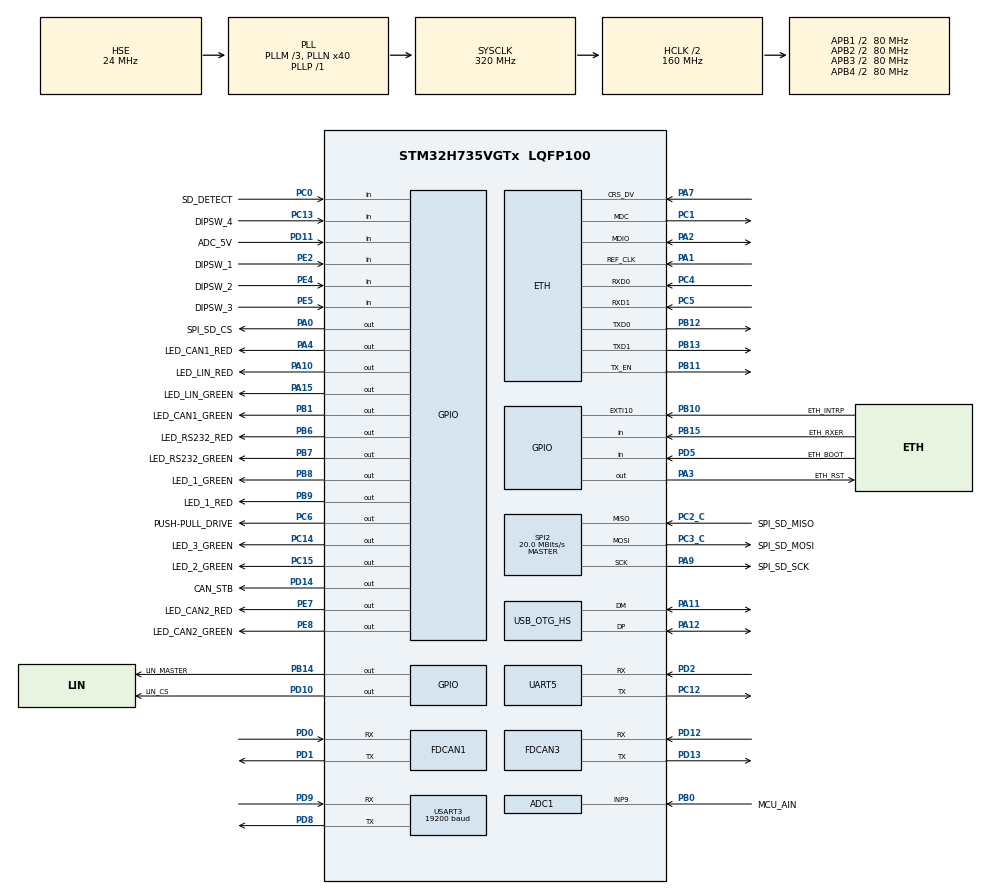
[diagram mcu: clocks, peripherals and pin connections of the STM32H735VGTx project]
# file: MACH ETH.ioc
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ADC1.Channel-2\#ChannelRegularConversion=ADC_CHANNEL_9
ADC1.ConversionDataManagement=ADC_CONVERSIONDATA_DR
ADC1.ExternalTrigConv=ADC_SOFTWARE_START
ADC1.NbrOfConversionFlag=1
ADC1.OffsetNumber-2\#ChannelRegularConversion=ADC_OFFSET_NONE
ADC1.OffsetSignedSaturation-2\#ChannelRegularConversion=DISABLE
ADC1.Rank-2\#ChannelRegularConversion=1
ADC1.SamplingTime-2\#ChannelRegularConversion=ADC_SAMPLETIME_16CYCLES_5
ADC1.master=1
CORTEX_M7.AccessPermission-Cortex_Memory_Protection_Unit_Region0_Settings=MPU_REGION_FULL_ACCESS
CORTEX_M7.AccessPermission-Cortex_Memory_Protection_Unit_Region1_Settings=MPU_REGION_FULL_ACCESS
CORTEX_M7.BaseAddress-Cortex_Memory_Protection_Unit_Region0_Settings=0x30000000
CORTEX_M7.BaseAddress-Cortex_Memory_Protection_Unit_Region1_Settings=0x30000000
CORTEX_M7.CPU_DCache=Enabled
CORTEX_M7.DisableExec-Cortex_Memory_Protection_Unit_Region0_Settings=MPU_INSTRUCTION_ACCESS_DISABLE
CORTEX_M7.DisableExec-Cortex_Memory_Protection_Unit_Region1_Settings=MPU_INSTRUCTION_ACCESS_DISABLE
CORTEX_M7.Enable-Cortex_Memory_Protection_Unit_Region0_Settings=MPU_REGION_ENABLE
CORTEX_M7.Enable-Cortex_Memory_Protection_Unit_Region1_Settings=MPU_REGION_ENABLE
CORTEX_M7.Enable-Cortex_Memory_Protection_Unit_Region2_Settings=__NULL
CORTEX_M7.IsBufferable-Cortex_Memory_Protection_Unit_Region0_Settings=MPU_ACCESS_NOT_BUFFERABLE
CORTEX_M7.IsBufferable-Cortex_Memory_Protection_Unit_Region1_Settings=MPU_ACCESS_BUFFERABLE
CORTEX_M7.IsShareable-Cortex_Memory_Protection_Unit_Region0_Settings=MPU_ACCESS_NOT_SHAREABLE
CORTEX_M7.IsShareable-Cortex_Memory_Protection_Unit_Region1_Settings=MPU_ACCESS_SHAREABLE
CORTEX_M7.MPU_Control=MPU_PRIVILEGED_DEFAULT
CORTEX_M7.Size-Cortex_Memory_Protection_Unit_Region0_Settings=MPU_REGION_SIZE_32KB
CORTEX_M7.Size-Cortex_Memory_Protection_Unit_Region1_Settings=MPU_REGION_SIZE_256B
CORTEX_M7.SubRegionDisable-Cortex_Memory_Protection_Unit_Region0_Settings=0x0
CORTEX_M7.TypeExtField-Cortex_Memory_Protection_Unit_Region0_Settings=MPU_TEX_LEVEL1
CORTEX_M7.TypeExtField-Cortex_Memory_Protection_Unit_Region1_Settings=MPU_TEX_LEVEL0
ETH.MediaInterface=HAL_ETH_RMII_MODE
ETH.RxBuffAddress=0x30000400
ETH.TxDescAddress=0x30000060
FDCAN1.CalculateBaudRateNominal=1111111
FDCAN1.CalculateTimeBitNominal=900
FDCAN1.CalculateTimeQuantumNominal=50.0
FDCAN1.DataPrescaler=2
FDCAN1.DataSyncJumpWidth=3
FDCAN1.DataTimeSeg1=14
FDCAN1.DataTimeSeg2=3
FDCAN1.ExtFiltersNbr=1
FDCAN1.FrameFormat=FDCAN_FRAME_FD_BRS
FDCAN1.NominalPrescaler=4
FDCAN1.NominalSyncJumpWidth=3
FDCAN1.NominalTimeSeg1=14
FDCAN1.NominalTimeSeg2=3
FDCAN1.RxBuffersNbr=8
FDCAN1.RxFifo0ElmtSize=FDCAN_DATA_BYTES_64
FDCAN1.RxFifo0ElmtsNbr=8
FDCAN1.StdFiltersNbr=1
FDCAN1.TxBuffersNbr=8
FDCAN1.TxElmtSize=FDCAN_DATA_BYTES_64
FDCAN1.TxEventsNbr=8
FDCAN1.TxFifoQueueElmtsNbr=8
FDCAN3.CalculateBaudRateNominal=1111111
FDCAN3.CalculateTimeBitNominal=900
FDCAN3.CalculateTimeQuantumNominal=50.0
FDCAN3.DataPrescaler=2
FDCAN3.DataSyncJumpWidth=3
FDCAN3.DataTimeSeg1=14
FDCAN3.DataTimeSeg2=3
FDCAN3.ExtFiltersNbr=1
FDCAN3.FrameFormat=FDCAN_FRAME_FD_BRS
FDCAN3.NominalPrescaler=4
FDCAN3.NominalSyncJumpWidth=3
FDCAN3.NominalTimeSeg1=14
FDCAN3.NominalTimeSeg2=3
FDCAN3.RxBuffersNbr=8
FDCAN3.RxFifo0ElmtSize=FDCAN_DATA_BYTES_64
FDCAN3.RxFifo0ElmtsNbr=8
FDCAN3.StdFiltersNbr=1
FDCAN3.TxBuffersNbr=8
FDCAN3.TxElmtSize=FDCAN_DATA_BYTES_64
FDCAN3.TxEventsNbr=8
FDCAN3.TxFifoQueueElmtsNbr=8
FREERTOS.HEAP_NUMBER=2
FREERTOS.Queues01=UsbRxQueue,4,GenericMessageType,0,Dynamic,NULL,NULL;TcpTxQueue,4,GenericMessageType,0,Dynamic,NULL,NULL
FREERTOS.Tasks01=defaultTask,24,2048,StartDefaultTask,Default,NULL,Dynamic,NULL,NULL;usbProtocolTask,24,2048,UsbProtocolTask,As external,NULL,Dynamic,NULL,NULL
FREERTOS.configCHECK_FOR_STACK_OVERFLOW=0
FREERTOS.configMINIMAL_STACK_SIZE=128
FREERTOS.configQUEUE_REGISTRY_SIZE=8
FREERTOS.configTOTAL_HEAP_SIZE=65536
FREERTOS.configUSE_NEWLIB_REENTRANT=1
IWDG1.Prescaler=IWDG_PRESCALER_32
IWDG1.Reload=3998
LWIP.BSP.number=1
LWIP.DEFAULT_THREAD_STACKSIZE=1024
LWIP.IP_ADDRESS=192.168.001.100
LWIP.IP_REASS_MAXAGE=15
LWIP.IP_REASS_MAX_PBUFS=31
LWIP.LWIP_DBG_TYPES_ON=LWIP_DBG_ON
LWIP.LWIP_DHCP=0
LWIP.LWIP_HTTPD=0
LWIP.LWIP_IGMP=1
LWIP.LWIP_MULTICAST_TX_OPTIONS=1
LWIP.LWIP_RAM_HEAP_POINTER=0x30004E00
LWIP.LWIP_SOCKET=0
LWIP.LWIP_SO_RCVTIMEO=1
LWIP.LWIP_SO_SNDTIMEO=1
LWIP.LWIP_TCPIP_TIMEOUT=1
LWIP.LWIP_TCP_KEEPALIVE=1
LWIP.MEMP_DEBUG=LWIP_DBG_OFF
LWIP.MEMP_NUM_NETBUF=8
LWIP.MEMP_NUM_NETCONN=16
LWIP.MEMP_NUM_PBUF=512
LWIP.MEMP_NUM_RAW_PCB=4
LWIP.MEMP_NUM_SELECT_CB=4
LWIP.MEMP_NUM_SYS_TIMEOUT=4
LWIP.MEMP_NUM_TCPIP_MSG_API=8
LWIP.MEMP_NUM_TCP_PCB=6
LWIP.MEMP_NUM_TCP_PCB_LISTEN=16
LWIP.MEMP_NUM_TCP_SEG=17
LWIP.MEM_DEBUG=LWIP_DBG_OFF
LWIP.MEM_SIZE=12288
LWIP.NETMASK_ADDRESS=255.255.255.000
LWIP.PBUF_POOL_BUFSIZE=1522
LWIP.PBUF_POOL_SIZE=32
LWIP.SLIPIF_THREAD_STACKSIZE=1024
LWIP.SYS_DEBUG=LWIP_DBG_OFF
LWIP.TCPIP_THREAD_STACKSIZE=1536
LWIP.TCP_DEBUG=LWIP_DBG_OFF
LWIP.TCP_MSS=1460
LWIP.TCP_OUTPUT_DEBUG=LWIP_DBG_OFF
LWIP.TCP_SND_BUF=5840
LWIP.Version=v2.1.2_Cube
LWIP0.BSP.STBoard=false
LWIP0.BSP.api=BSP_COMPONENT_DRIVER
LWIP0.BSP.component=LAN8742
LWIP0.BSP.instance=LAN8742
LWIP0.BSP.name=Driver_PHY
LWIP0.BSP.solution=LAN8742
Mcu.Family=STM32H7
Mcu.Name=STM32H735VGTx
Mcu.Package=LQFP100
NVIC.ADC_IRQn=true\:5\:0\:false\:false\:true\:true\:true\:true\:true
NVIC.ETH_IRQn=true\:5\:0\:false\:false\:true\:true\:true\:true\:true
NVIC.ETH_WKUP_IRQn=true\:5\:0\:false\:false\:true\:true\:true\:true\:true
NVIC.FDCAN1_IT0_IRQn=true\:5\:0\:false\:false\:true\:true\:true\:true\:true
NVIC.FDCAN1_IT1_IRQn=true\:5\:0\:false\:false\:true\:true\:true\:true\:true
NVIC.FDCAN3_IT0_IRQn=true\:5\:0\:false\:false\:true\:true\:true\:true\:true
NVIC.FDCAN3_IT1_IRQn=true\:5\:0\:false\:false\:true\:true\:true\:true\:true
NVIC.OTG_HS_IRQn=true\:6\:0\:true\:false\:true\:true\:true\:true\:true
NVIC.PriorityGroup=NVIC_PRIORITYGROUP_4
NVIC.TIM6_DAC_IRQn=true\:15\:0\:false\:false\:true\:false\:false\:true\:true
NVIC.TIM7_IRQn=true\:5\:0\:false\:false\:true\:true\:true\:true\:true
NVIC.TIM8_UP_TIM13_IRQn=true\:5\:0\:false\:false\:true\:true\:true\:true\:true
NVIC.TimeBase=TIM6_DAC_IRQn
NVIC.TimeBaseIP=TIM6
NVIC.UART5_IRQn=true\:5\:0\:false\:false\:true\:false\:true\:true\:true
NVIC.USART3_IRQn=true\:5\:0\:false\:false\:true\:true\:true\:true\:true
PA0.GPIO_Label=SPI_SD_CS
PA0.GPIO_PuPd=GPIO_PULLUP
PA0.GPIO_Speed=GPIO_SPEED_FREQ_VERY_HIGH
PA0.PinState=GPIO_PIN_SET
PA0.Signal=GPIO_Output
PA1.GPIO_Mode=GPIO_MODE_AF_PP
PA1.GPIO_PuPd=GPIO_NOPULL
PA1.GPIO_Speed=GPIO_SPEED_FREQ_VERY_HIGH
PA1.Mode=RMII
PA1.Signal=ETH_REF_CLK
PA10.GPIO_Label=LED_LIN_RED
PA10.PinState=GPIO_PIN_SET
PA10.Signal=GPIO_Output
PA11.Mode=Device_Only_FS
PA11.Signal=USB_OTG_HS_DM
PA12.Mode=Device_Only_FS
PA12.Signal=USB_OTG_HS_DP
PA13(JTMS/SWDIO).Mode=Serial_Wire
PA13(JTMS/SWDIO).Signal=DEBUG_JTMS-SWDIO
PA14(JTCK/SWCLK).Mode=Serial_Wire
PA14(JTCK/SWCLK).Signal=DEBUG_JTCK-SWCLK
PA15(JTDI).GPIO_Label=LED_LIN_GREEN
PA15(JTDI).PinState=GPIO_PIN_SET
PA15(JTDI).Signal=GPIO_Output
PA2.GPIO_Mode=GPIO_MODE_AF_PP
PA2.GPIO_PuPd=GPIO_NOPULL
PA2.GPIO_Speed=GPIO_SPEED_FREQ_VERY_HIGH
PA2.Mode=RMII
PA2.Signal=ETH_MDIO
PA3.GPIO_Label=ETH_RST
PA3.PinState=GPIO_PIN_SET
PA3.Signal=GPIO_Output
PA4.GPIO_Label=LED_CAN1_RED
PA4.PinState=GPIO_PIN_SET
PA4.Signal=GPIO_Output
PA7.GPIO_Mode=GPIO_MODE_AF_PP
PA7.GPIO_PuPd=GPIO_NOPULL
PA7.GPIO_Speed=GPIO_SPEED_FREQ_VERY_HIGH
PA7.Mode=RMII
PA7.Signal=ETH_CRS_DV
PA9.GPIO_Label=SPI_SD_SCK
PA9.GPIO_Speed=GPIO_SPEED_FREQ_HIGH
PA9.Mode=Full_Duplex_Master
PA9.Signal=SPI2_SCK
PB0.GPIO_Label=MCU_AIN
PB0.Signal=ADCx_INP9
PB1.GPIO_Label=LED_CAN1_GREEN
PB1.PinState=GPIO_PIN_SET
PB1.Signal=GPIO_Output
PB10.GPIO_Label=ETH_INTRP
PB10.Signal=GPXTI10
PB11.GPIO_Mode=GPIO_MODE_AF_PP
PB11.GPIO_PuPd=GPIO_NOPULL
PB11.GPIO_Speed=GPIO_SPEED_FREQ_VERY_HIGH
PB11.Mode=RMII
PB11.Signal=ETH_TX_EN
PB12.GPIO_Mode=GPIO_MODE_AF_PP
PB12.GPIO_PuPd=GPIO_NOPULL
PB12.GPIO_Speed=GPIO_SPEED_FREQ_VERY_HIGH
PB12.Mode=RMII
PB12.Signal=ETH_TXD0
PB13.GPIO_Mode=GPIO_MODE_AF_PP
PB13.GPIO_PuPd=GPIO_NOPULL
PB13.GPIO_Speed=GPIO_SPEED_FREQ_VERY_HIGH
PB13.Mode=RMII
PB13.Signal=ETH_TXD1
PB14.GPIO_Label=LIN_MASTER
PB14.Signal=GPIO_Output
PB15.GPIO_Label=ETH_RXER
PB15.Signal=GPIO_Input
PB3(JTDO/TRACESWO).Signal=DEBUG_JTDO-SWO
PB6.GPIO_Label=LED_RS232_RED
PB6.PinState=GPIO_PIN_SET
PB6.Signal=GPIO_Output
PB7.GPIO_Label=LED_RS232_GREEN
PB7.PinState=GPIO_PIN_SET
PB7.Signal=GPIO_Output
PB8.GPIO_Label=LED_1_GREEN
PB8.PinState=GPIO_PIN_SET
PB8.Signal=GPIO_Output
PB9.GPIO_Label=LED_1_RED
PB9.PinState=GPIO_PIN_SET
PB9.Signal=GPIO_Output
PC0.GPIO_Label=SD_DETECT
PC0.Signal=GPIO_Input
PC1.GPIO_Mode=GPIO_MODE_AF_PP
PC1.GPIO_PuPd=GPIO_NOPULL
PC1.GPIO_Speed=GPIO_SPEED_FREQ_VERY_HIGH
PC1.Mode=RMII
PC1.Signal=ETH_MDC
PC12.GPIO_Speed=GPIO_SPEED_FREQ_MEDIUM
PC12.Mode=Asynchronous
PC12.Signal=UART5_TX
PC13.GPIO_Label=DIPSW_4
PC13.Signal=GPIO_Input
PC14-OSC32_IN.GPIO_Label=LED_3_GREEN
PC14-OSC32_IN.PinState=GPIO_PIN_SET
PC14-OSC32_IN.Signal=GPIO_Output
PC15-OSC32_OUT.GPIO_Label=LED_2_GREEN
PC15-OSC32_OUT.PinState=GPIO_PIN_SET
PC15-OSC32_OUT.Signal=GPIO_Output
PC2_C.GPIO_Label=SPI_SD_MISO
PC2_C.GPIO_Speed=GPIO_SPEED_FREQ_HIGH
PC2_C.Mode=Full_Duplex_Master
PC2_C.Signal=SPI2_MISO
PC3_C.GPIO_Label=SPI_SD_MOSI
PC3_C.GPIO_Speed=GPIO_SPEED_FREQ_HIGH
PC3_C.Mode=Full_Duplex_Master
PC3_C.Signal=SPI2_MOSI
PC4.GPIO_Mode=GPIO_MODE_AF_PP
PC4.GPIO_PuPd=GPIO_NOPULL
PC4.GPIO_Speed=GPIO_SPEED_FREQ_VERY_HIGH
PC4.Mode=RMII
PC4.Signal=ETH_RXD0
PC5.GPIO_Mode=GPIO_MODE_AF_PP
PC5.GPIO_PuPd=GPIO_NOPULL
PC5.GPIO_Speed=GPIO_SPEED_FREQ_VERY_HIGH
PC5.Mode=RMII
PC5.Signal=ETH_RXD1
PC6.GPIO_Label=PUSH-PULL_DRIVE
PC6.Signal=GPIO_Output
PD0.GPIO_Speed=GPIO_SPEED_FREQ_HIGH
PD0.Mode=FDCAN_Activate
PD0.Signal=FDCAN1_RX
PD1.GPIO_Speed=GPIO_SPEED_FREQ_HIGH
PD1.Mode=FDCAN_Activate
PD1.Signal=FDCAN1_TX
PD10.GPIO_Label=LIN_CS
PD10.Signal=GPIO_Output
PD11.GPIO_Label=ADC_5V
PD11.Signal=GPIO_Input
PD12.GPIO_Speed=GPIO_SPEED_FREQ_HIGH
PD12.Mode=FDCAN_Activate
PD12.Signal=FDCAN3_RX
PD13.GPIO_Speed=GPIO_SPEED_FREQ_HIGH
PD13.Mode=FDCAN_Activate
PD13.Signal=FDCAN3_TX
PD14.GPIO_Label=CAN_STB
PD14.PinState=GPIO_PIN_SET
PD14.Signal=GPIO_Output
PD2.GPIO_Speed=GPIO_SPEED_FREQ_MEDIUM
PD2.Mode=Asynchronous
PD2.Signal=UART5_RX
PD5.GPIO_Label=ETH_BOOT
PD5.GPIO_PuPd=GPIO_PULLUP
PD5.Signal=GPIO_Input
PD8.GPIO_Speed=GPIO_SPEED_FREQ_MEDIUM
PD8.Mode=LIN
PD8.Signal=USART3_TX
PD9.GPIO_Speed=GPIO_SPEED_FREQ_MEDIUM
PD9.Mode=LIN
PD9.Signal=USART3_RX
PE2.GPIO_Label=DIPSW_1
PE2.Signal=GPIO_Input
PE4.GPIO_Label=DIPSW_2
PE4.Signal=GPIO_Input
PE5.GPIO_Label=DIPSW_3
PE5.Signal=GPIO_Input
PE7.GPIO_Label=LED_CAN2_RED
PE7.PinState=GPIO_PIN_SET
PE7.Signal=GPIO_Output
PE8.GPIO_Label=LED_CAN2_GREEN
PE8.PinState=GPIO_PIN_SET
PE8.Signal=GPIO_Output
PH0-OSC_IN.Mode=HSE-External-Oscillator
PH0-OSC_IN.Signal=RCC_OSC_IN
PH1-OSC_OUT.Mode=HSE-External-Oscillator
PH1-OSC_OUT.Signal=RCC_OSC_OUT
ProjectManager.HeapSize=0x200
ProjectManager.StackSize=0x400
ProjectManager.TargetToolchain=STM32CubeIDE
RCC.ADCFreq_Value=30000000
RCC.APB1Freq_Value=80000000
RCC.APB2Freq_Value=80000000
RCC.APB3Freq_Value=80000000
RCC.APB4Freq_Value=80000000
RCC.CortexFreq_Value=320000000
RCC.D1PPRE=RCC_APB3_DIV2
RCC.D2PPRE1=RCC_APB1_DIV2
RCC.D2PPRE2=RCC_APB2_DIV2
RCC.D3PPRE=RCC_APB4_DIV2
RCC.DIVM1=3
RCC.DIVM2=4
RCC.DIVM3=4
RCC.DIVN1=40
RCC.DIVN2=40
RCC.DIVN3=48
RCC.DIVP1=1
RCC.DIVP2=8
RCC.DIVP3=1
RCC.DIVQ1=8
RCC.DIVQ2=3
RCC.DIVQ3=6
RCC.EnbaleCSS=false
RCC.FDCANCLockSelection=RCC_FDCANCLKSOURCE_PLL2
RCC.FLatency-AdvancedSettings=FLASH_LATENCY_2
RCC.HCLKFreq_Value=160000000
RCC.HPRE=RCC_HCLK_DIV2
RCC.HSE_VALUE=24000000
RCC.PLL1_VCI_Range-AdvancedSettings=RCC_PLL1VCIRANGE_1
RCC.PLL1_VCO_SEL-AdvancedSettings=RCC_PLL1VCOMEDIUM
RCC.PLL2FRACN=0
RCC.PLL2_VCI_Range-AdvancedSettings=RCC_PLL2VCIRANGE_0
RCC.PLL2_VCO_SEL-AdvancedSettings=RCC_PLL2VCOMEDIUM
RCC.PLL3FRACN=0
RCC.PLL3_VCI_Range-AdvancedSettings=RCC_PLL3VCIRANGE_3
RCC.PLL3_VCO_SEL-AdvancedSettings=RCC_PLL3VCOMEDIUM
RCC.PLLFRACN=0
RCC.PLLSourceVirtual=RCC_PLLSOURCE_HSE
RCC.PWR_Regulator_Voltage_Scale=PWR_REGULATOR_VOLTAGE_SCALE1
RCC.RCC_MCO1Source=RCC_MCO1SOURCE_HSE
RCC.RCC_MCODiv1=RCC_MCODIV_2
RCC.SYSCLKFreq_VALUE=320000000
RCC.SYSCLKSource=RCC_SYSCLKSOURCE_PLLCLK
RCC.SupplySource=PWR_LDO_SUPPLY
RCC.USART234578CLockSelection=RCC_USART234578CLKSOURCE_PLL2
RCC.USBCLockSelection=RCC_USBCLKSOURCE_PLL3
RCC.USBFreq_Value=48000000
SH.ADCx_INP9.0=ADC1_INP9,IN9-Single-Ended
SPI2.CalculateBaudRate=20.0 MBits/s
SPI2.Direction=SPI_DIRECTION_2LINES
SPI2.Mode=SPI_MODE_MASTER
SPI2.VirtualType=VM_MASTER
TIM13.AutoReloadPreload=TIM_AUTORELOAD_PRELOAD_DISABLE
TIM13.Period=999
TIM13.Prescaler=159
USART3.BaudRate=19200
USART3.DMADisableonRxErrorParam=ADVFEATURE_DMA_DISABLEONRXERROR
USART3.OverrunDisableParam=ADVFEATURE_OVERRUN_DISABLE
USART3.VirtualMode-LIN=VM_LIN
USB_DEVICE.CLASS_NAME_HS=CDC
USB_DEVICE.VirtualMode=Cdc
USB_DEVICE.VirtualModeHS=Cdc_HS
USB_OTG_HS.VirtualMode-Device_Only_FS=Device_Only_FS
VP_FREERTOS_VS_CMSIS_V2.Mode=CMSIS_V2
VP_IWDG1_VS_IWDG.Mode=IWDG_Activate
VP_LWIP_VS_Enabled.Mode=Enabled
VP_SYS_VS_tim6.Mode=TIM6
VP_TIM13_VS_ClockSourceINT.Mode=Enable_Timer
VP_TIM7_VS_ClockSourceINT.Mode=Enable_Timer
VP_USB_DEVICE_VS_USB_DEVICE_CDC_HS.Mode=CDC_HS
VREF+.Mode=InternalMode
VREF+.Signal=VREFBUF_OUT
board=custom

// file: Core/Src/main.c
/* USER CODE BEGIN Header */
/**
  ******************************************************************************
  * @file           : main.c
  * @brief          : MACH ETH Example
  ******************************************************************************
  * @attention
  *
  * Product: MACH ETH
  *
  * Company: MACH SYSTEMS s.r.o.
  * Company web: www.machsystems.cz
  *
  * Product description:
  * - 10/100 Ethernet port
  * - 2 CAN-HS channels with CAN FD support
  * - LIN channel
  * - USB 2.0
  * - RS-232
  * - Analogue input and digital output
  * - 4 DIP switches
  * - 10 status LEDs
  * - Open communication protocol for integration over Ethernet and USB
  * - User-programmable
  * - Externally or USB-powered
  * - Table-top use or DIN-rail mount
  *
  * MCU: STM32H735VG
  * IDE: STM32CubeIDE v1.14.0
  * HAL: STM32Cube FW_H7 V1.11.0
  *
  *
  * Connector pinout of the device:
  * ===============================
  * Connector X5 (D-SUB Male):
  *   - 1 AI1 (0-5V)
  *   - 2 CAN1 L
  *   - 3 GND
  *   - 4 CAN2 L
  *   - 5 GND
  *   - 6 LIN
  *   - 7 CAN1 H
  *   - 8 CAN2 H
  *   - 9 Vin/Vbat
  *
  * Connector X6 (D-SUB Male):
  *   - 1 DO1  (5 V push-pull)
  *   - 2 NC
  *   - 3 GND
  *   - 4 NC
  *   - 5 GND
  *   - 6 RS-232 TxD (out)
  *   - 7 NC
  *   - 8 NC
  *   - 9 RS-232 RxD (in)
  *
  * Description of the example:
  * ===========================
  * CAN-FD:
  *  Default setting for CAN is 500k, 2M, SP = 80 %.
  *  Everything received on CAN is sent to USB and to TCP connection (if there
  *  is).
  *
  * LIN:
  *   In LIN scheduler, there is one frame:
  * ID 0x01 - Master Response
  *         - 4 data bytes
  *         - LSB of bytes 0, 1, 2, 3 contain respectively state of the
  *           dip switches
  *
  * Bootloader:
  *  CAN frame with extended frame ID 0x1fffffff and first four data bytes 0x00
  * 0x01 0x02 0x03 (on CAN1 or CAN2) will reset the device to HTTP bootloader.
  * If you then connect to the device via ethernet and connect from web browser
  * (Google Chrome recommended), you can upload new firmware to the device. If
  * the binary is built as without bootloader, device will reset to System
  * Bootloader. If you then connect USB cable, you can upload new firmware. See
  * below for build possibilities. Furthermore, see manual for more info.
  *
  * Virtual COM Port:
  *   If there is anything received, there is a frame transmitted on CAN1.
  *
  * EEPROM:
  *  There is running an EEPROM emulation in flash. Program tries to load conf-
  * iguration from there.
  *
  * RS-232:
  *  Received data are sent back. Uncomment TEST_UART for this example.
  * Settings are: 115200, 8 B, 1 stop bit, no parity.
  *
  * Analog Input:
  *  There is one analog input that can measure 0 to 5 V. You can get its value
  * using GetAdcMeasurement().
  *
  * Output:
  *  There is one 5 V push-pull. There are macros defined in main.h (in section
  * Push-pull control) for controlling it, but they are not used in this example.
  *
  *  Also, there are three LEDs, macros for using them are in main.h in section
  * User LED controls.
  *
  *  Note that currently there are two possible build options, Bootloader and
  * NoBootloader. Each has its own linker file. First is to be used with our
  * TCP bootloader, you can upload this app via a web browser (we recommend
  * Google Chrome). See manual for details. Second one should be used without
  * bootloader.
  *
  *
  *
  * Mapping of the peripherals to their names:
  * ==========================================
  * CAN1: FDCAN3 peripheral
  * CAN2: FDCAN1 peripheral
  *
  * LIN:   USART3
  * RS232: UART5
  *
  * TIM13: millisecond timer
  * TIM7: LIN timer
  *
  * <h2><center>&copy; Copyright (c) 2021 STMicroelectronics.
  * All rights reserved.</center></h2>
  *
  * This software component is licensed by ST under BSD 3-Clause license,
  * the "License"; You may not use this file except in compliance with the
  * License. You may obtain a copy of the License at:
  *                        opensource.org/licenses/BSD-3-Clause
  *
  *
  *
  ******************************************************************************
  */
/* USER CODE END Header */
#include "main.h"
#include "cmsis_os.h"
#include "lwip.h"
#include "usb_device.h"

/* USER CODE BEGIN Includes */
#include "tcpServer.h"
#include <string.h>         /* memcpy() */
#include "lin.h"
#include <usbd_cdc_if.h>
#include "eeprom_emul.h"
#include "config.h"
#include "commControl.h"    /*  ProtocolTimeoutCallback() */
#include "sharedParams.h"
#include "can.h"
#include "packetControl.h"
/* USER CODE END Includes */

/* USER CODE BEGIN PD */
#define CAN_MAX_DATALEN         64
#define LIN_TX_DATA_SIZE        4

#define TEST_UART

//#define TEST_CAN

#define SYSTEM_BOOT_ADDR        0x1FF09800
#define HTTP_BOOT_ADDR          0x08000000

#define SHARED_RAM_USB_JUMP     11  /* Address in the shared memory section that is used when
                                       jumping to System Bootloader */
/* USER CODE END PD */

ADC_HandleTypeDef hadc1;

FDCAN_HandleTypeDef hfdcan1;
FDCAN_HandleTypeDef hfdcan3;

IWDG_HandleTypeDef hiwdg1;

SPI_HandleTypeDef hspi2;

TIM_HandleTypeDef htim13;

UART_HandleTypeDef huart5;

/* Definitions for defaultTask */
osThreadId_t defaultTaskHandle;
const osThreadAttr_t defaultTask_attributes = {
  .name = "defaultTask",
  .stack_size = 2048 * 4,
  .priority = (osPriority_t) osPriorityNormal,
};
/* Definitions for usbProtocolTask */
osThreadId_t usbProtocolTaskHandle;
const osThreadAttr_t usbProtocolTask_attributes = {
  .name = "usbProtocolTask",
  .stack_size = 2048 * 4,
  .priority = (osPriority_t) osPriorityNormal,
};
/* Definitions for UsbRxQueue */
osMessageQueueId_t UsbRxQueueHandle;
const osMessageQueueAttr_t UsbRxQueue_attributes = {
  .name = "UsbRxQueue"
};
/* Definitions for TcpTxQueue */
osMessageQueueId_t TcpTxQueueHandle;
const osMessageQueueAttr_t TcpTxQueue_attributes = {
  .name = "TcpTxQueue"
};
/* USER CODE BEGIN PV */
FDCAN_RxHeaderTypeDef RxHeader;
uint8_t RxData[CAN_MAX_DATALEN];
FDCAN_TxHeaderTypeDef TxHeader;
uint8_t TxData[CAN_MAX_DATALEN];

uint8_t LinGlobalData[LIN_DATA_LENGTH];

/* String to send via uart */
uint8_t aTextInfoStart[] = "\r\nUART Debug Example: Received data will be sent back:\r\n";
uint8_t DbgReceive = 'a';

uint16_t gTimerCnt = 0;

/* FATFs process status */
int32_t ProcessStatus = 0;

/* Represents state of the dipswitches *at the start* */
uint8_t GlobalBtnState;

/* Request to go to bootloader */
uint8_t BootloaderRequest = 0;

uint8_t linTxData[LIN_TX_DATA_SIZE] = {0, 0, 0};
LIN_Frame* pLinRxFrame;
/* USER CODE END PV */

void SystemClock_Config(void);
void PeriphCommonClock_Config(void);
static void MPU_Config(void);
static void MX_GPIO_Init(void);
static void MX_FDCAN1_Init(void);
static void MX_FDCAN3_Init(void);
static void MX_UART5_Init(void);
static void MX_USART3_UART_Init(void);
static void MX_TIM7_Init(void);
static void MX_TIM13_Init(void);
static void MX_ADC1_Init(void);
static void MX_SPI2_Init(void);
static void MX_IWDG1_Init(void);
void StartDefaultTask(void *argument);
extern void UsbProtocolTask(void *argument);

/* USER CODE BEGIN PFP */
/*
 * Read the DIP switches.
 */
void testDipsw(void);

/*
 * Test the outputs.
 */
void testIo(void);

/*
 * Jump to the system bootloader.
 * Almost entirely from:
 * https://community.st.com/s/article/STM32H7-bootloader-jump-from-application
 * Other source:
 * https://www.programmersought.com/article/56553023460/
 * https://stm32f4-discovery.net/2017/04/tutorial-jump-system-memory-software-stm32/
 */
void jumpToBootloader(uint32_t address);

/*
 * Blink with all LEDs
 */
void ledTest(void);
/* USER CODE END PFP */

int main(void)
{
  /* USER CODE BEGIN 1 */
  if (GetSharedData(SHARED_RAM_USB_JUMP) == 1)
  {
    SetSharedData(SHARED_RAM_USB_JUMP, 0);
    jumpToBootloader(SYSTEM_BOOT_ADDR);
  }
  hiwdg1.Instance = IWDG1;
  WDG_REFRESH();    // Watchdog might have been enabled by the bootloader
  /* USER CODE END 1 */

  /* MPU Configuration--------------------------------------------------------*/
  MPU_Config();

  /* Enable D-Cache---------------------------------------------------------*/
  SCB_EnableDCache();

  /* MCU Configuration--------------------------------------------------------*/

  /* Reset of all peripherals, Initializes the Flash interface and the Systick. */
  HAL_Init();

  /* Configure the system clock */
  SystemClock_Config();

/* Configure the peripherals common clocks */
  PeriphCommonClock_Config();

  /* Initialize all configured peripherals */
  MX_GPIO_Init();
  MX_FDCAN1_Init();
  MX_FDCAN3_Init();
  MX_UART5_Init();
  MX_USART3_UART_Init();
  MX_TIM7_Init();
  MX_TIM13_Init();
  MX_ADC1_Init();
  MX_SPI2_Init();
  MX_IWDG1_Init();
  /* USER CODE BEGIN 2 */
  HAL_ADCEx_Calibration_Start(&hadc1, ADC_CALIB_OFFSET, ADC_SINGLE_ENDED);
  HAL_ADCEx_Calibration_Start(&hadc1, ADC_CALIB_OFFSET_LINEARITY, ADC_SINGLE_ENDED);

  InitNonVolatileData();
  // Disable interrupt pin for now
  HAL_NVIC_DisableIRQ(EXTI9_5_IRQn);

  LED_RS232_GREEN_OFF();
  LED_RS232_RED_OFF();
  LED_CAN1_GREEN_OFF();
  LED_CAN1_RED_OFF();
  LED_CAN2_GREEN_OFF();
  LED_CAN2_RED_OFF();
  LED_LIN_GREEN_OFF();
  LED_LIN_RED_OFF();
  LED1_GREEN_OFF();
  LED1_RED_OFF();
  LED2_GREEN_OFF();
  LED3_GREEN_OFF();

  testDipsw();
  testIo();

  /* Enable the CAN transceiver */
  HAL_GPIO_WritePin(CAN_STB_GPIO_Port, CAN_STB_Pin, GPIO_PIN_RESET);

  /* Start CAN FD peripherals with default configuration*/
  DefaultConfigurationCanCh1();
  CanStartChannel(CAN1_NUM);
  DefaultConfigurationCanCh2();
  CanStartChannel(CAN2_NUM);

  /* Wake up the LIN transceiver */
  HAL_GPIO_WritePin(LIN_CS_GPIO_Port, LIN_CS_Pin, GPIO_PIN_SET);

  /* Start LIN peripheral with default configuration*/
  DefaultConfigurationLIN();
  InitLin(GetConfigurationLIN().LinConfiguration);

  HAL_TIM_Base_Start_IT(&htim13);

#ifdef TEST_UART
  /* Do not send ending '\0' */
  HAL_UART_Transmit(&huart5, aTextInfoStart, sizeof(aTextInfoStart) - 1, HAL_MAX_DELAY);
#endif /* TEST_UART */
  /* USER CODE END 2 */

  /* Init scheduler */
  osKernelInitialize();

  /* Create the queue(s) */
  /* creation of UsbRxQueue */
  UsbRxQueueHandle = osMessageQueueNew (4, sizeof(GenericMessageType), &UsbRxQueue_attributes);

  /* creation of TcpTxQueue */
  TcpTxQueueHandle = osMessageQueueNew (4, sizeof(GenericMessageType), &TcpTxQueue_attributes);

  /* Create the thread(s) */
  /* creation of defaultTask */
  defaultTaskHandle = osThreadNew(StartDefaultTask, NULL, &defaultTask_attributes);

  /* creation of usbProtocolTask */
  usbProtocolTaskHandle = osThreadNew(UsbProtocolTask, NULL, &usbProtocolTask_attributes);

  /* Start scheduler */
  osKernelStart();

  /* We should never get here as control is now taken by the scheduler */
  /* Infinite loop */
  while (1)
  {

  }
}

void SystemClock_Config(void)
{
  RCC_OscInitTypeDef RCC_OscInitStruct = {0};
  RCC_ClkInitTypeDef RCC_ClkInitStruct = {0};

  /** Supply configuration update enable
  */
  HAL_PWREx_ConfigSupply(PWR_LDO_SUPPLY);

  /** Configure the main internal regulator output voltage
  */
  __HAL_PWR_VOLTAGESCALING_CONFIG(PWR_REGULATOR_VOLTAGE_SCALE1);

  while(!__HAL_PWR_GET_FLAG(PWR_FLAG_VOSRDY)) {}

  /** Initializes the RCC Oscillators according to the specified parameters
  * in the RCC_OscInitTypeDef structure.
  */
  RCC_OscInitStruct.OscillatorType = RCC_OSCILLATORTYPE_LSI|RCC_OSCILLATORTYPE_HSE;
  RCC_OscInitStruct.HSEState = RCC_HSE_ON;
  RCC_OscInitStruct.LSIState = RCC_LSI_ON;
  RCC_OscInitStruct.PLL.PLLState = RCC_PLL_ON;
  RCC_OscInitStruct.PLL.PLLSource = RCC_PLLSOURCE_HSE;
  RCC_OscInitStruct.PLL.PLLM = 3;
  RCC_OscInitStruct.PLL.PLLN = 40;
  RCC_OscInitStruct.PLL.PLLP = 1;
  RCC_OscInitStruct.PLL.PLLQ = 8;
  RCC_OscInitStruct.PLL.PLLR = 2;
  RCC_OscInitStruct.PLL.PLLRGE = RCC_PLL1VCIRANGE_3;
  RCC_OscInitStruct.PLL.PLLVCOSEL = RCC_PLL1VCOWIDE;
  RCC_OscInitStruct.PLL.PLLFRACN = 0;
  if (HAL_RCC_OscConfig(&RCC_OscInitStruct) != HAL_OK)
  {
    Error_Handler();
  }

  /** Initializes the CPU, AHB and APB buses clocks
  */
  RCC_ClkInitStruct.ClockType = RCC_CLOCKTYPE_HCLK|RCC_CLOCKTYPE_SYSCLK
                              |RCC_CLOCKTYPE_PCLK1|RCC_CLOCKTYPE_PCLK2
                              |RCC_CLOCKTYPE_D3PCLK1|RCC_CLOCKTYPE_D1PCLK1;
  RCC_ClkInitStruct.SYSCLKSource = RCC_SYSCLKSOURCE_PLLCLK;
  RCC_ClkInitStruct.SYSCLKDivider = RCC_SYSCLK_DIV1;
  RCC_ClkInitStruct.AHBCLKDivider = RCC_HCLK_DIV2;
  RCC_ClkInitStruct.APB3CLKDivider = RCC_APB3_DIV2;
  RCC_ClkInitStruct.APB1CLKDivider = RCC_APB1_DIV2;
  RCC_ClkInitStruct.APB2CLKDivider = RCC_APB2_DIV2;
  RCC_ClkInitStruct.APB4CLKDivider = RCC_APB4_DIV2;

  if (HAL_RCC_ClockConfig(&RCC_ClkInitStruct, FLASH_LATENCY_2) != HAL_OK)
  {
    Error_Handler();
  }
}

void PeriphCommonClock_Config(void)
{
  RCC_PeriphCLKInitTypeDef PeriphClkInitStruct = {0};

  /** Initializes the peripherals clock
  */
  PeriphClkInitStruct.PeriphClockSelection = RCC_PERIPHCLK_ADC|RCC_PERIPHCLK_UART5
                              |RCC_PERIPHCLK_FDCAN|RCC_PERIPHCLK_USART3;
  PeriphClkInitStruct.PLL2.PLL2M = 4;
  PeriphClkInitStruct.PLL2.PLL2N = 40;
  PeriphClkInitStruct.PLL2.PLL2P = 8;
  PeriphClkInitStruct.PLL2.PLL2Q = 3;
  PeriphClkInitStruct.PLL2.PLL2R = 2;
  PeriphClkInitStruct.PLL2.PLL2RGE = RCC_PLL2VCIRANGE_2;
  PeriphClkInitStruct.PLL2.PLL2VCOSEL = RCC_PLL2VCOWIDE;
  PeriphClkInitStruct.PLL2.PLL2FRACN = 0;
  PeriphClkInitStruct.FdcanClockSelection = RCC_FDCANCLKSOURCE_PLL2;
  PeriphClkInitStruct.Usart234578ClockSelection = RCC_USART234578CLKSOURCE_PLL2;
  PeriphClkInitStruct.AdcClockSelection = RCC_ADCCLKSOURCE_PLL2;
  if (HAL_RCCEx_PeriphCLKConfig(&PeriphClkInitStruct) != HAL_OK)
  {
    Error_Handler();
  }
}

static void MX_ADC1_Init(void)
{

  ADC_MultiModeTypeDef multimode = {0};
  ADC_ChannelConfTypeDef sConfig = {0};

  /** Common config
  */
  hadc1.Instance = ADC1;
  hadc1.Init.ClockPrescaler = ADC_CLOCK_ASYNC_DIV1;
  hadc1.Init.Resolution = ADC_RESOLUTION_16B;
  hadc1.Init.ScanConvMode = ADC_SCAN_DISABLE;
  hadc1.Init.EOCSelection = ADC_EOC_SINGLE_CONV;
  hadc1.Init.LowPowerAutoWait = DISABLE;
  hadc1.Init.ContinuousConvMode = DISABLE;
  hadc1.Init.NbrOfConversion = 1;
  hadc1.Init.DiscontinuousConvMode = DISABLE;
  hadc1.Init.ExternalTrigConv = ADC_SOFTWARE_START;
  hadc1.Init.ExternalTrigConvEdge = ADC_EXTERNALTRIGCONVEDGE_NONE;
  hadc1.Init.ConversionDataManagement = ADC_CONVERSIONDATA_DR;
  hadc1.Init.Overrun = ADC_OVR_DATA_PRESERVED;
  hadc1.Init.LeftBitShift = ADC_LEFTBITSHIFT_NONE;
  hadc1.Init.OversamplingMode = DISABLE;
  if (HAL_ADC_Init(&hadc1) != HAL_OK)
  {
    Error_Handler();
  }

  /** Configure the ADC multi-mode
  */
  multimode.Mode = ADC_MODE_INDEPENDENT;
  if (HAL_ADCEx_MultiModeConfigChannel(&hadc1, &multimode) != HAL_OK)
  {
    Error_Handler();
  }

  /** Configure Regular Channel
  */
  sConfig.Channel = ADC_CHANNEL_9;
  sConfig.Rank = ADC_REGULAR_RANK_1;
  sConfig.SamplingTime = ADC_SAMPLETIME_16CYCLES_5;
  sConfig.SingleDiff = ADC_SINGLE_ENDED;
  sConfig.OffsetNumber = ADC_OFFSET_NONE;
  sConfig.Offset = 0;
  sConfig.OffsetSignedSaturation = DISABLE;
  if (HAL_ADC_ConfigChannel(&hadc1, &sConfig) != HAL_OK)
  {
    Error_Handler();
  }

}

static void MX_FDCAN1_Init(void)
{

  hfdcan1.Instance = FDCAN1;
  hfdcan1.Init.FrameFormat = FDCAN_FRAME_FD_BRS;
  hfdcan1.Init.Mode = FDCAN_MODE_NORMAL;
  hfdcan1.Init.AutoRetransmission = DISABLE;
  hfdcan1.Init.TransmitPause = DISABLE;
  hfdcan1.Init.ProtocolException = DISABLE;
  hfdcan1.Init.NominalPrescaler = 4;
  hfdcan1.Init.NominalSyncJumpWidth = 3;
  hfdcan1.Init.NominalTimeSeg1 = 14;
  hfdcan1.Init.NominalTimeSeg2 = 3;
  hfdcan1.Init.DataPrescaler = 2;
  hfdcan1.Init.DataSyncJumpWidth = 3;
  hfdcan1.Init.DataTimeSeg1 = 14;
  hfdcan1.Init.DataTimeSeg2 = 3;
  hfdcan1.Init.MessageRAMOffset = 0;
  hfdcan1.Init.StdFiltersNbr = 1;
  hfdcan1.Init.ExtFiltersNbr = 1;
  hfdcan1.Init.RxFifo0ElmtsNbr = 8;
  hfdcan1.Init.RxFifo0ElmtSize = FDCAN_DATA_BYTES_64;
  hfdcan1.Init.RxFifo1ElmtsNbr = 0;
  hfdcan1.Init.RxFifo1ElmtSize = FDCAN_DATA_BYTES_8;
  hfdcan1.Init.RxBuffersNbr = 8;
  hfdcan1.Init.RxBufferSize = FDCAN_DATA_BYTES_8;
  hfdcan1.Init.TxEventsNbr = 8;
  hfdcan1.Init.TxBuffersNbr = 8;
  hfdcan1.Init.TxFifoQueueElmtsNbr = 8;
  hfdcan1.Init.TxFifoQueueMode = FDCAN_TX_FIFO_OPERATION;
  hfdcan1.Init.TxElmtSize = FDCAN_DATA_BYTES_64;
  if (HAL_FDCAN_Init(&hfdcan1) != HAL_OK)
  {
    Error_Handler();
  }

}

static void MX_FDCAN3_Init(void)
{

  hfdcan3.Instance = FDCAN3;
  hfdcan3.Init.FrameFormat = FDCAN_FRAME_FD_BRS;
  hfdcan3.Init.Mode = FDCAN_MODE_NORMAL;
  hfdcan3.Init.AutoRetransmission = DISABLE;
  hfdcan3.Init.TransmitPause = DISABLE;
  hfdcan3.Init.ProtocolException = DISABLE;
  hfdcan3.Init.NominalPrescaler = 4;
  hfdcan3.Init.NominalSyncJumpWidth = 3;
  hfdcan3.Init.NominalTimeSeg1 = 14;
  hfdcan3.Init.NominalTimeSeg2 = 3;
  hfdcan3.Init.DataPrescaler = 2;
  hfdcan3.Init.DataSyncJumpWidth = 3;
  hfdcan3.Init.DataTimeSeg1 = 14;
  hfdcan3.Init.DataTimeSeg2 = 3;
  hfdcan3.Init.MessageRAMOffset = 0;
  hfdcan3.Init.StdFiltersNbr = 1;
  hfdcan3.Init.ExtFiltersNbr = 1;
  hfdcan3.Init.RxFifo0ElmtsNbr = 8;
  hfdcan3.Init.RxFifo0ElmtSize = FDCAN_DATA_BYTES_64;
  hfdcan3.Init.RxFifo1ElmtsNbr = 0;
  hfdcan3.Init.RxFifo1ElmtSize = FDCAN_DATA_BYTES_8;
  hfdcan3.Init.RxBuffersNbr = 8;
  hfdcan3.Init.RxBufferSize = FDCAN_DATA_BYTES_8;
  hfdcan3.Init.TxEventsNbr = 8;
  hfdcan3.Init.TxBuffersNbr = 8;
  hfdcan3.Init.TxFifoQueueElmtsNbr = 8;
  hfdcan3.Init.TxFifoQueueMode = FDCAN_TX_FIFO_OPERATION;
  hfdcan3.Init.TxElmtSize = FDCAN_DATA_BYTES_64;
  if (HAL_FDCAN_Init(&hfdcan3) != HAL_OK)
  {
    Error_Handler();
  }

}

static void MX_IWDG1_Init(void)
{

  /* USER CODE BEGIN IWDG1_Init 1 */
#ifdef WATCHDOG_ENABLED
  /* USER CODE END IWDG1_Init 1 */
  hiwdg1.Instance = IWDG1;
  hiwdg1.Init.Prescaler = IWDG_PRESCALER_32;
  hiwdg1.Init.Window = 4095;
  hiwdg1.Init.Reload = 3998;
  if (HAL_IWDG_Init(&hiwdg1) != HAL_OK)
  {
    Error_Handler();
  }
  /* USER CODE BEGIN IWDG1_Init 2 */
#endif
  /* USER CODE END IWDG1_Init 2 */

}

static void MX_SPI2_Init(void)
{

  /* SPI2 parameter configuration*/
  hspi2.Instance = SPI2;
  hspi2.Init.Mode = SPI_MODE_MASTER;
  hspi2.Init.Direction = SPI_DIRECTION_2LINES;
  hspi2.Init.DataSize = SPI_DATASIZE_4BIT;
  hspi2.Init.CLKPolarity = SPI_POLARITY_LOW;
  hspi2.Init.CLKPhase = SPI_PHASE_1EDGE;
  hspi2.Init.NSS = SPI_NSS_SOFT;
  hspi2.Init.BaudRatePrescaler = SPI_BAUDRATEPRESCALER_2;
  hspi2.Init.FirstBit = SPI_FIRSTBIT_MSB;
  hspi2.Init.TIMode = SPI_TIMODE_DISABLE;
  hspi2.Init.CRCCalculation = SPI_CRCCALCULATION_DISABLE;
  hspi2.Init.CRCPolynomial = 0x0;
  hspi2.Init.NSSPMode = SPI_NSS_PULSE_ENABLE;
  hspi2.Init.NSSPolarity = SPI_NSS_POLARITY_LOW;
  hspi2.Init.FifoThreshold = SPI_FIFO_THRESHOLD_01DATA;
  hspi2.Init.TxCRCInitializationPattern = SPI_CRC_INITIALIZATION_ALL_ZERO_PATTERN;
  hspi2.Init.RxCRCInitializationPattern = SPI_CRC_INITIALIZATION_ALL_ZERO_PATTERN;
  hspi2.Init.MasterSSIdleness = SPI_MASTER_SS_IDLENESS_00CYCLE;
  hspi2.Init.MasterInterDataIdleness = SPI_MASTER_INTERDATA_IDLENESS_00CYCLE;
  hspi2.Init.MasterReceiverAutoSusp = SPI_MASTER_RX_AUTOSUSP_DISABLE;
  hspi2.Init.MasterKeepIOState = SPI_MASTER_KEEP_IO_STATE_DISABLE;
  hspi2.Init.IOSwap = SPI_IO_SWAP_DISABLE;
  if (HAL_SPI_Init(&hspi2) != HAL_OK)
  {
    Error_Handler();
  }

}

static void MX_TIM7_Init(void)
{

  LL_TIM_InitTypeDef TIM_InitStruct = {0};

  /* Peripheral clock enable */
  LL_APB1_GRP1_EnableClock(LL_APB1_GRP1_PERIPH_TIM7);

  /* TIM7 interrupt Init */
  NVIC_SetPriority(TIM7_IRQn, NVIC_EncodePriority(NVIC_GetPriorityGrouping(),5, 0));
  NVIC_EnableIRQ(TIM7_IRQn);

  TIM_InitStruct.Prescaler = 0;
  TIM_InitStruct.CounterMode = LL_TIM_COUNTERMODE_UP;
  TIM_InitStruct.Autoreload = 65535;
  LL_TIM_Init(TIM7, &TIM_InitStruct);
  LL_TIM_DisableARRPreload(TIM7);
  LL_TIM_SetTriggerOutput(TIM7, LL_TIM_TRGO_RESET);
  LL_TIM_DisableMasterSlaveMode(TIM7);

}

static void MX_TIM13_Init(void)
{

  htim13.Instance = TIM13;
  htim13.Init.Prescaler = 159;
  htim13.Init.CounterMode = TIM_COUNTERMODE_UP;
  htim13.Init.Period = 999;
  htim13.Init.ClockDivision = TIM_CLOCKDIVISION_DIV1;
  htim13.Init.AutoReloadPreload = TIM_AUTORELOAD_PRELOAD_DISABLE;
  if (HAL_TIM_Base_Init(&htim13) != HAL_OK)
  {
    Error_Handler();
  }

}

static void MX_UART5_Init(void)
{

  huart5.Instance = UART5;
  huart5.Init.BaudRate = 115200;
  huart5.Init.WordLength = UART_WORDLENGTH_8B;
  huart5.Init.StopBits = UART_STOPBITS_1;
  huart5.Init.Parity = UART_PARITY_NONE;
  huart5.Init.Mode = UART_MODE_TX_RX;
  huart5.Init.HwFlowCtl = UART_HWCONTROL_NONE;
  huart5.Init.OverSampling = UART_OVERSAMPLING_16;
  huart5.Init.OneBitSampling = UART_ONE_BIT_SAMPLE_DISABLE;
  huart5.Init.ClockPrescaler = UART_PRESCALER_DIV1;
  huart5.AdvancedInit.AdvFeatureInit = UART_ADVFEATURE_NO_INIT;
  if (HAL_UART_Init(&huart5) != HAL_OK)
  {
    Error_Handler();
  }
  if (HAL_UARTEx_SetTxFifoThreshold(&huart5, UART_TXFIFO_THRESHOLD_1_8) != HAL_OK)
  {
    Error_Handler();
  }
  if (HAL_UARTEx_SetRxFifoThreshold(&huart5, UART_RXFIFO_THRESHOLD_1_8) != HAL_OK)
  {
    Error_Handler();
  }
  if (HAL_UARTEx_DisableFifoMode(&huart5) != HAL_OK)
  {
    Error_Handler();
  }

}

static void MX_USART3_UART_Init(void)
{

  LL_USART_InitTypeDef USART_InitStruct = {0};

  LL_GPIO_InitTypeDef GPIO_InitStruct = {0};

  /* Peripheral clock enable */
  LL_APB1_GRP1_EnableClock(LL_APB1_GRP1_PERIPH_USART3);

  LL_AHB4_GRP1_EnableClock(LL_AHB4_GRP1_PERIPH_GPIOD);
  /**USART3 GPIO Configuration
  PD8   ------> USART3_TX
  PD9   ------> USART3_RX
  */
  GPIO_InitStruct.Pin = LL_GPIO_PIN_8|LL_GPIO_PIN_9;
  GPIO_InitStruct.Mode = LL_GPIO_MODE_ALTERNATE;
  GPIO_InitStruct.Speed = LL_GPIO_SPEED_FREQ_MEDIUM;
  GPIO_InitStruct.OutputType = LL_GPIO_OUTPUT_PUSHPULL;
  GPIO_InitStruct.Pull = LL_GPIO_PULL_NO;
  GPIO_InitStruct.Alternate = LL_GPIO_AF_7;
  LL_GPIO_Init(GPIOD, &GPIO_InitStruct);

  /* USART3 interrupt Init */
  NVIC_SetPriority(USART3_IRQn, NVIC_EncodePriority(NVIC_GetPriorityGrouping(),5, 0));
  NVIC_EnableIRQ(USART3_IRQn);

  USART_InitStruct.PrescalerValue = LL_USART_PRESCALER_DIV1;
  USART_InitStruct.BaudRate = 19200;
  USART_InitStruct.DataWidth = LL_USART_DATAWIDTH_8B;
  USART_InitStruct.StopBits = LL_USART_STOPBITS_1;
  USART_InitStruct.Parity = LL_USART_PARITY_NONE;
  USART_InitStruct.TransferDirection = LL_USART_DIRECTION_TX_RX;
  USART_InitStruct.OverSampling = LL_USART_OVERSAMPLING_16;
  LL_USART_Init(USART3, &USART_InitStruct);
  LL_USART_SetTXFIFOThreshold(USART3, LL_USART_FIFOTHRESHOLD_1_8);
  LL_USART_SetRXFIFOThreshold(USART3, LL_USART_FIFOTHRESHOLD_1_8);
  LL_USART_DisableFIFO(USART3);
  LL_USART_SetLINBrkDetectionLen(USART3, LL_USART_LINBREAK_DETECT_10B);
  LL_USART_DisableOverrunDetect(USART3);
  LL_USART_DisableDMADeactOnRxErr(USART3);
  LL_USART_ConfigLINMode(USART3);

  LL_USART_Enable(USART3);

  /* Polling USART3 initialisation */
  while((!(LL_USART_IsActiveFlag_TEACK(USART3))) || (!(LL_USART_IsActiveFlag_REACK(USART3))))
  {
  }

}

static void MX_GPIO_Init(void)
{
  GPIO_InitTypeDef GPIO_InitStruct = {0};

  /* GPIO Ports Clock Enable */
  __HAL_RCC_GPIOE_CLK_ENABLE();
  __HAL_RCC_GPIOC_CLK_ENABLE();
  __HAL_RCC_GPIOH_CLK_ENABLE();
  __HAL_RCC_GPIOA_CLK_ENABLE();
  __HAL_RCC_GPIOB_CLK_ENABLE();
  __HAL_RCC_GPIOD_CLK_ENABLE();

  /*Configure GPIO pin Output Level */
  HAL_GPIO_WritePin(GPIOC, LED_3_GREEN_Pin|LED_2_GREEN_Pin, GPIO_PIN_SET);

  /*Configure GPIO pin Output Level */
  HAL_GPIO_WritePin(GPIOA, SPI_SD_CS_Pin|ETH_RST_Pin|LED_CAN1_RED_Pin|LED_LIN_RED_Pin
                          |LED_LIN_GREEN_Pin, GPIO_PIN_SET);

  /*Configure GPIO pin Output Level */
  HAL_GPIO_WritePin(GPIOB, LED_CAN1_GREEN_Pin|LED_RS232_RED_Pin|LED_RS232_GREEN_Pin|LED_1_GREEN_Pin
                          |LED_1_RED_Pin, GPIO_PIN_SET);

  /*Configure GPIO pin Output Level */
  HAL_GPIO_WritePin(GPIOE, LED_CAN2_RED_Pin|LED_CAN2_GREEN_Pin, GPIO_PIN_SET);

  /*Configure GPIO pin Output Level */
  HAL_GPIO_WritePin(LIN_MASTER_GPIO_Port, LIN_MASTER_Pin, GPIO_PIN_RESET);

  /*Configure GPIO pin Output Level */
  HAL_GPIO_WritePin(LIN_CS_GPIO_Port, LIN_CS_Pin, GPIO_PIN_RESET);

  /*Configure GPIO pin Output Level */
  HAL_GPIO_WritePin(CAN_STB_GPIO_Port, CAN_STB_Pin, GPIO_PIN_SET);

  /*Configure GPIO pin Output Level */
  HAL_GPIO_WritePin(PUSH_PULL_DRIVE_GPIO_Port, PUSH_PULL_DRIVE_Pin, GPIO_PIN_RESET);

  /*Configure GPIO pins : DIPSW_1_Pin DIPSW_2_Pin DIPSW_3_Pin */
  GPIO_InitStruct.Pin = DIPSW_1_Pin|DIPSW_2_Pin|DIPSW_3_Pin;
  GPIO_InitStruct.Mode = GPIO_MODE_INPUT;
  GPIO_InitStruct.Pull = GPIO_NOPULL;
  HAL_GPIO_Init(GPIOE, &GPIO_InitStruct);

  /*Configure GPIO pins : DIPSW_4_Pin SD_DETECT_Pin */
  GPIO_InitStruct.Pin = DIPSW_4_Pin|SD_DETECT_Pin;
  GPIO_InitStruct.Mode = GPIO_MODE_INPUT;
  GPIO_InitStruct.Pull = GPIO_NOPULL;
  HAL_GPIO_Init(GPIOC, &GPIO_InitStruct);

  /*Configure GPIO pins : LED_3_GREEN_Pin LED_2_GREEN_Pin PUSH_PULL_DRIVE_Pin */
  GPIO_InitStruct.Pin = LED_3_GREEN_Pin|LED_2_GREEN_Pin|PUSH_PULL_DRIVE_Pin;
  GPIO_InitStruct.Mode = GPIO_MODE_OUTPUT_PP;
  GPIO_InitStruct.Pull = GPIO_NOPULL;
  GPIO_InitStruct.Speed = GPIO_SPEED_FREQ_LOW;
  HAL_GPIO_Init(GPIOC, &GPIO_InitStruct);

  /*Configure GPIO pin : SPI_SD_CS_Pin */
  GPIO_InitStruct.Pin = SPI_SD_CS_Pin;
  GPIO_InitStruct.Mode = GPIO_MODE_OUTPUT_PP;
  GPIO_InitStruct.Pull = GPIO_PULLUP;
  GPIO_InitStruct.Speed = GPIO_SPEED_FREQ_VERY_HIGH;
  HAL_GPIO_Init(SPI_SD_CS_GPIO_Port, &GPIO_InitStruct);

  /*Configure GPIO pins : ETH_RST_Pin LED_CAN1_RED_Pin LED_LIN_RED_Pin LED_LIN_GREEN_Pin */
  GPIO_InitStruct.Pin = ETH_RST_Pin|LED_CAN1_RED_Pin|LED_LIN_RED_Pin|LED_LIN_GREEN_Pin;
  GPIO_InitStruct.Mode = GPIO_MODE_OUTPUT_PP;
  GPIO_InitStruct.Pull = GPIO_NOPULL;
  GPIO_InitStruct.Speed = GPIO_SPEED_FREQ_LOW;
  HAL_GPIO_Init(GPIOA, &GPIO_InitStruct);

  /*Configure GPIO pins : LED_CAN1_GREEN_Pin LIN_MASTER_Pin LED_RS232_RED_Pin LED_RS232_GREEN_Pin
                           LED_1_GREEN_Pin LED_1_RED_Pin */
  GPIO_InitStruct.Pin = LED_CAN1_GREEN_Pin|LIN_MASTER_Pin|LED_RS232_RED_Pin|LED_RS232_GREEN_Pin
                          |LED_1_GREEN_Pin|LED_1_RED_Pin;
  GPIO_InitStruct.Mode = GPIO_MODE_OUTPUT_PP;
  GPIO_InitStruct.Pull = GPIO_NOPULL;
  GPIO_InitStruct.Speed = GPIO_SPEED_FREQ_LOW;
  HAL_GPIO_Init(GPIOB, &GPIO_InitStruct);

  /*Configure GPIO pins : LED_CAN2_RED_Pin LED_CAN2_GREEN_Pin */
  GPIO_InitStruct.Pin = LED_CAN2_RED_Pin|LED_CAN2_GREEN_Pin;
  GPIO_InitStruct.Mode = GPIO_MODE_OUTPUT_PP;
  GPIO_InitStruct.Pull = GPIO_NOPULL;
  GPIO_InitStruct.Speed = GPIO_SPEED_FREQ_LOW;
  HAL_GPIO_Init(GPIOE, &GPIO_InitStruct);

  /*Configure GPIO pin : ETH_INTRP_Pin */
  GPIO_InitStruct.Pin = ETH_INTRP_Pin;
  GPIO_InitStruct.Mode = GPIO_MODE_IT_RISING;
  GPIO_InitStruct.Pull = GPIO_NOPULL;
  HAL_GPIO_Init(ETH_INTRP_GPIO_Port, &GPIO_InitStruct);

  /*Configure GPIO pin : ETH_RXER_Pin */
  GPIO_InitStruct.Pin = ETH_RXER_Pin;
  GPIO_InitStruct.Mode = GPIO_MODE_INPUT;
  GPIO_InitStruct.Pull = GPIO_NOPULL;
  HAL_GPIO_Init(ETH_RXER_GPIO_Port, &GPIO_InitStruct);

  /*Configure GPIO pins : LIN_CS_Pin CAN_STB_Pin */
  GPIO_InitStruct.Pin = LIN_CS_Pin|CAN_STB_Pin;
  GPIO_InitStruct.Mode = GPIO_MODE_OUTPUT_PP;
  GPIO_InitStruct.Pull = GPIO_NOPULL;
  GPIO_InitStruct.Speed = GPIO_SPEED_FREQ_LOW;
  HAL_GPIO_Init(GPIOD, &GPIO_InitStruct);

  /*Configure GPIO pin : ADC_5V_Pin */
  GPIO_InitStruct.Pin = ADC_5V_Pin;
  GPIO_InitStruct.Mode = GPIO_MODE_INPUT;
  GPIO_InitStruct.Pull = GPIO_NOPULL;
  HAL_GPIO_Init(ADC_5V_GPIO_Port, &GPIO_InitStruct);

  /*Configure GPIO pin : ETH_BOOT_Pin */
  GPIO_InitStruct.Pin = ETH_BOOT_Pin;
  GPIO_InitStruct.Mode = GPIO_MODE_INPUT;
  GPIO_InitStruct.Pull = GPIO_PULLUP;
  HAL_GPIO_Init(ETH_BOOT_GPIO_Port, &GPIO_InitStruct);

}

/* USER CODE BEGIN 4 */
void HAL_UART_RxCpltCallback(UART_HandleTypeDef *huart)
{
  if (huart == &huart5)
  {
    HAL_UART_Transmit_IT(&huart5, &DbgReceive, 1);
    HAL_UART_Receive_IT(&huart5, &DbgReceive, 1);
  }
}

void testDipsw(void)
{
  GlobalBtnState = READ_DIP1();
  GlobalBtnState |= READ_DIP2() << 1;
  GlobalBtnState |= READ_DIP3() << 2;
  GlobalBtnState |= READ_DIP4() << 3;
}

void testIo(void)
{
  HAL_GPIO_WritePin(PUSH_PULL_DRIVE_GPIO_Port, PUSH_PULL_DRIVE_Pin, GPIO_PIN_SET);
  HAL_GPIO_WritePin(PUSH_PULL_DRIVE_GPIO_Port, PUSH_PULL_DRIVE_Pin, GPIO_PIN_RESET);
  HAL_GPIO_WritePin(PUSH_PULL_DRIVE_GPIO_Port, PUSH_PULL_DRIVE_Pin, GPIO_PIN_SET);
  HAL_GPIO_WritePin(PUSH_PULL_DRIVE_GPIO_Port, PUSH_PULL_DRIVE_Pin, GPIO_PIN_RESET);
}

void jumpToBootloader(uint32_t address)
{
  uint32_t i=0;
  void (*SysMemBootJump)(void);

  /* Set the address of the entry point to bootloader */
  volatile uint32_t BootAddr = address;

  /* Disable all interrupts */
  __disable_irq();

  /* Disable Systick timer */
  SysTick->CTRL = 0;

  /* Set the clock to the default state */
  HAL_RCC_DeInit();

  /* Deinitialize all the peripherals */
  HAL_DeInit();

  /* Must disable the caches! */
  SCB_DisableDCache();
  SCB_DisableICache();

  /* Clear Interrupt Enable Register & Interrupt Pending Register */
  uint8_t cnt = (sizeof(NVIC->ICER) / sizeof(*NVIC->ICER));
  for (i = 0; i < cnt; i++)
  {
    NVIC->ICER[i] = 0xFFFFFFFF;
    NVIC->ICPR[i] = 0xFFFFFFFF;
  }

  /* Set vector table offset to 0 */
  SCB->VTOR = 0;

  /* Re-enable all interrupts */
  __enable_irq();

  /* Set up the jump to booloader address + 4 */
  SysMemBootJump = (void (*)(void)) (*((uint32_t *) ((BootAddr + 4))));

  /* Set the main stack pointer to the bootloader stack */
  __set_MSP(*(uint32_t *)BootAddr);

  /* RTOS in engineering, this statement is very important to privileged mode, use the MSP pointer */
  __set_CONTROL(0);

  /* Call the function to jump to bootloader location */
  SysMemBootJump();

  /* Jump is done successfully */
  while (1)
  {
    /* Code should never reach this loop */
  }
}

void HAL_GPIO_EXTI_Callback(uint16_t GPIO_Pin)
{
}

void ledTest(void)
{
  LED_RS232_GREEN_ON();
  LED_RS232_RED_ON();
  LED_CAN1_GREEN_ON();
  LED_CAN1_RED_ON();
  LED_CAN2_GREEN_ON();
  LED_CAN2_RED_ON();
  LED_LIN_GREEN_ON();
  LED_LIN_RED_ON();
  LED1_GREEN_ON();
  LED1_RED_ON();
  LED2_GREEN_ON();
  LED3_GREEN_ON();

  LED_RS232_GREEN_OFF();
  LED_RS232_RED_OFF();
  LED_CAN1_GREEN_OFF();
  LED_CAN1_RED_OFF();
  LED_CAN2_GREEN_OFF();
  LED_CAN2_RED_OFF();
  LED_LIN_GREEN_OFF();
  LED_LIN_RED_OFF();
  LED1_GREEN_OFF();
  LED1_RED_OFF();
  LED2_GREEN_OFF();
  LED3_GREEN_OFF();
}

uint16_t GetAdcMeasurement(void)
{
  HAL_ADC_Start(&hadc1);
  HAL_ADC_PollForConversion(&hadc1, HAL_MAX_DELAY);
  uint32_t value = HAL_ADC_GetValue(&hadc1);

  return IO_VALUE(value);
}
/* USER CODE END 4 */

void StartDefaultTask(void *argument)
{
  /* init code for LWIP */
  MX_LWIP_Init();

  /* init code for USB_DEVICE */
  MX_USB_DEVICE_Init();
  /* USER CODE BEGIN 5 */
  WDG_REFRESH();
  /* Initialize the TCP server thread */
  TcpServerInit(argument);
  /* Set up LIN to send status of dipswitches */
  initLinScheduler();
  LinSchedulerStart();
#ifdef TEST_CAN
  HAL_StatusTypeDef ret;
  if ((ret = HAL_FDCAN_AddMessageToTxFifoQ(&hfdcan1, (FDCAN_TxHeaderTypeDef*) &TxHeader, TxData)) != HAL_OK)
    Error_Handler();
  if ((ret = HAL_FDCAN_AddMessageToTxFifoQ(&hfdcan3, (FDCAN_TxHeaderTypeDef*) &TxHeader, TxData)) != HAL_OK)
    Error_Handler();
#endif /* TEST_CAN */

  HAL_UART_Receive_IT(&huart5, &DbgReceive, 1);

  /* Infinite loop */
   for(;;)
   {
   /* Dip switches active in zero */
     if (!READ_DIP1())
       linTxData[0] |= 1;
     else
       linTxData[0] &= 0;

     if (!READ_DIP2())
       linTxData[1] |= 1;
     else
       linTxData[1] &= 0;

     if (!READ_DIP3())
       linTxData[2] |= 1;
     else
       linTxData[2] &= 0;

     if (!READ_DIP4())
       linTxData[3] |= 1;
     else
       linTxData[3] &= 0;

     if (READ_ETH_BOOT())
       BootloaderRequest = 2;

     UpdateTxFrameData(1, linTxData, LIN_TX_DATA_SIZE);
     if (BootloaderRequest == 1)
     {
       USBD_DeInit(&hUsbDeviceHS);
       SetSharedData(SHARED_RAM_USB_JUMP, 1);
       HAL_NVIC_SystemReset();
     }
     else if (BootloaderRequest == 2)
     {
       InitSharedParams();
       SetSharedData(0, 1);
       jumpToBootloader(HTTP_BOOT_ADDR);
     }
     WDG_REFRESH();
     osDelay(100);
   }
  /* USER CODE END 5 */
}

/* MPU Configuration */

void MPU_Config(void)
{
  MPU_Region_InitTypeDef MPU_InitStruct = {0};

  /* Disables the MPU */
  HAL_MPU_Disable();

  /** Initializes and configures the Region and the memory to be protected
  */
  MPU_InitStruct.Enable = MPU_REGION_ENABLE;
  MPU_InitStruct.Number = MPU_REGION_NUMBER0;
  MPU_InitStruct.BaseAddress = 0x30000000;
  MPU_InitStruct.Size = MPU_REGION_SIZE_32KB;
  MPU_InitStruct.SubRegionDisable = 0x0;
  MPU_InitStruct.TypeExtField = MPU_TEX_LEVEL1;
  MPU_InitStruct.AccessPermission = MPU_REGION_FULL_ACCESS;
  MPU_InitStruct.DisableExec = MPU_INSTRUCTION_ACCESS_DISABLE;
  MPU_InitStruct.IsShareable = MPU_ACCESS_NOT_SHAREABLE;
  MPU_InitStruct.IsCacheable = MPU_ACCESS_NOT_CACHEABLE;
  MPU_InitStruct.IsBufferable = MPU_ACCESS_NOT_BUFFERABLE;

  HAL_MPU_ConfigRegion(&MPU_InitStruct);

  /** Initializes and configures the Region and the memory to be protected
  */
  MPU_InitStruct.Number = MPU_REGION_NUMBER1;
  MPU_InitStruct.Size = MPU_REGION_SIZE_256B;
  MPU_InitStruct.TypeExtField = MPU_TEX_LEVEL0;
  MPU_InitStruct.IsShareable = MPU_ACCESS_SHAREABLE;
  MPU_InitStruct.IsBufferable = MPU_ACCESS_BUFFERABLE;

  HAL_MPU_ConfigRegion(&MPU_InitStruct);
  /* Enables the MPU */
  HAL_MPU_Enable(MPU_PRIVILEGED_DEFAULT);

}

void HAL_TIM_PeriodElapsedCallback(TIM_HandleTypeDef *htim)
{
  /* USER CODE BEGIN Callback 0 */
  if (htim == &htim13)
  {
    /* LIN scheduler timer tick */
    SchedulerTimerCallback();

    /* LED LIN blink control timer tick */
    LinLedTimerCallback();

    /* LED CAN blink control timer tick */
    CanLedTimerCallback();
  }

  /* USER CODE END Callback 0 */
  if (htim->Instance == TIM6) {
    HAL_IncTick();
  }
}

void Error_Handler(void)
{
  __disable_irq();
  while (1)
  {
  }
}

#ifdef  USE_FULL_ASSERT
/**
  * @brief  Reports the name of the source file and the source line number
  *         where the assert_param error has occurred.
  * @param  file: pointer to the source file name
  * @param  line: assert_param error line source number
  * @retval None
  */
void assert_failed(uint8_t *file, uint32_t line)
{
  /* USER CODE BEGIN 6 */
  volatile int wai = 0;
  while (wai++ < 100);
  /* User can add his own implementation to report the file name and line number,
     ex: printf("Wrong parameters value: file %s on line %d\r\n", file, line) */
  /* USER CODE END 6 */
}
#endif /* USE_FULL_ASSERT */
